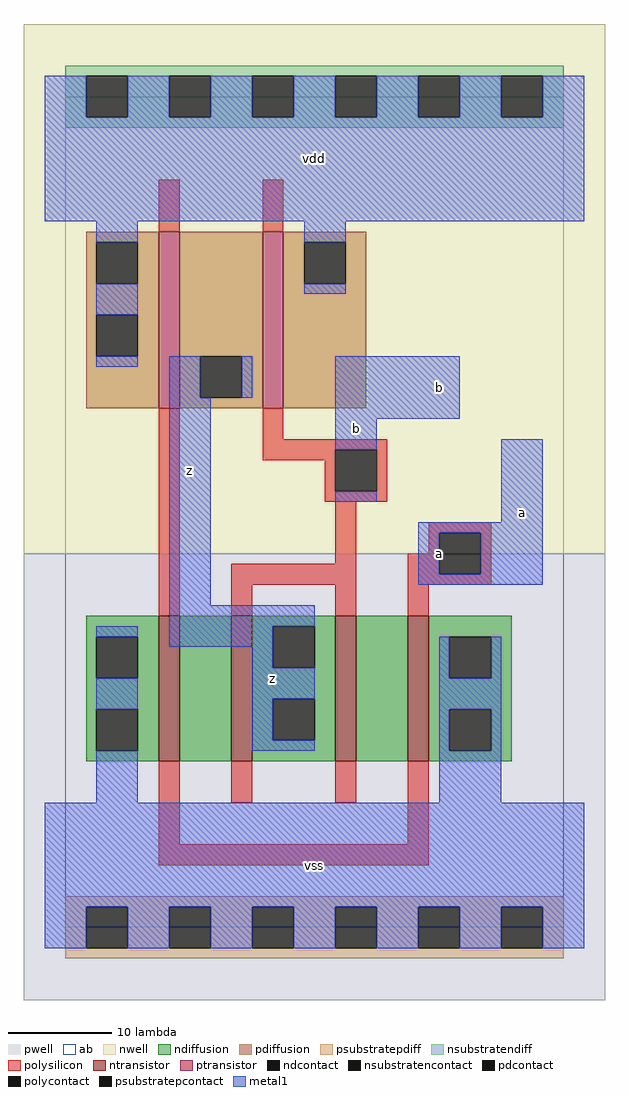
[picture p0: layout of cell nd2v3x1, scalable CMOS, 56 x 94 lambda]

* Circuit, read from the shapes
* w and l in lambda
.subckt nd2v3x1 a b vdd vss z
M1 n1 a vss vss nfet w=14 l=2
M2 z b n1 vss nfet w=14 l=2
M3 n2 b z vss nfet w=14 l=2
M4 vss a n2 vss nfet w=14 l=2
M5 z a vdd vdd pfet w=17 l=2
M6 vdd b z vdd pfet w=17 l=2
.ends

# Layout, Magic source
magic
tech scmos
<< ab >>
rect 0 0 48 80
<< pwell >>
rect -4 -7 52 36
<< nwell >>
rect -4 36 52 87
<< polysilicon >>
rect 9 67 11 72
rect 19 67 21 72
rect 9 30 11 50
rect 19 47 21 50
rect 19 46 31 47
rect 19 45 26 46
rect 25 42 26 45
rect 30 42 31 46
rect 25 41 31 42
rect 26 35 28 41
rect 35 38 41 39
rect 35 36 36 38
rect 16 33 28 35
rect 16 30 18 33
rect 26 30 28 33
rect 33 34 36 36
rect 40 34 41 38
rect 33 33 41 34
rect 33 30 35 33
rect 9 8 11 16
rect 16 12 18 16
rect 26 12 28 16
rect 33 8 35 16
rect 9 6 35 8
<< ndiffusion >>
rect 2 28 9 30
rect 2 24 3 28
rect 7 24 9 28
rect 2 21 9 24
rect 2 17 3 21
rect 7 17 9 21
rect 2 16 9 17
rect 11 16 16 30
rect 18 29 26 30
rect 18 25 20 29
rect 24 25 26 29
rect 18 22 26 25
rect 18 18 20 22
rect 24 18 26 22
rect 18 16 26 18
rect 28 16 33 30
rect 35 28 43 30
rect 35 24 37 28
rect 41 24 43 28
rect 35 21 43 24
rect 35 17 37 21
rect 41 17 43 21
rect 35 16 43 17
<< pdiffusion >>
rect 2 66 9 67
rect 2 62 3 66
rect 7 62 9 66
rect 2 59 9 62
rect 2 55 3 59
rect 7 55 9 59
rect 2 50 9 55
rect 11 55 19 67
rect 11 51 13 55
rect 17 51 19 55
rect 11 50 19 51
rect 21 66 29 67
rect 21 62 23 66
rect 27 62 29 66
rect 21 50 29 62
<< metal1 >>
rect -2 78 2 82
rect 6 78 10 82
rect 14 78 18 82
rect 22 78 26 82
rect 30 78 34 82
rect 38 78 42 82
rect 46 78 50 82
rect -2 68 50 78
rect 3 66 7 68
rect 3 59 7 62
rect 23 66 27 68
rect 23 61 27 62
rect 3 54 7 55
rect 10 51 13 55
rect 17 51 18 55
rect 10 31 14 51
rect 26 49 38 55
rect 26 46 30 49
rect 26 41 30 42
rect 42 39 46 47
rect 34 38 46 39
rect 34 34 36 38
rect 40 34 46 38
rect 34 33 46 34
rect 10 29 24 31
rect 3 28 7 29
rect 10 27 20 29
rect 3 21 7 24
rect 18 25 20 27
rect 18 22 24 25
rect 18 18 20 22
rect 18 17 24 18
rect 36 24 37 28
rect 41 24 42 28
rect 36 21 42 24
rect 36 17 37 21
rect 41 17 42 21
rect 3 12 7 17
rect 36 12 42 17
rect -2 2 50 12
rect -2 -2 2 2
rect 6 -2 10 2
rect 14 -2 18 2
rect 22 -2 26 2
rect 30 -2 34 2
rect 38 -2 42 2
rect 46 -2 50 2
<< ntransistor >>
rect 9 16 11 30
rect 16 16 18 30
rect 26 16 28 30
rect 33 16 35 30
<< ptransistor >>
rect 9 50 11 67
rect 19 50 21 67
<< polycontact >>
rect 26 42 30 46
rect 36 34 40 38
<< ndcontact >>
rect 3 24 7 28
rect 3 17 7 21
rect 20 25 24 29
rect 20 18 24 22
rect 37 24 41 28
rect 37 17 41 21
<< pdcontact >>
rect 3 62 7 66
rect 3 55 7 59
rect 13 51 17 55
rect 23 62 27 66
<< psubstratepcontact >>
rect 2 -2 6 2
rect 10 -2 14 2
rect 18 -2 22 2
rect 26 -2 30 2
rect 34 -2 38 2
rect 42 -2 46 2
<< nsubstratencontact >>
rect 2 78 6 82
rect 10 78 14 82
rect 18 78 22 82
rect 26 78 30 82
rect 34 78 38 82
rect 42 78 46 82
<< psubstratepdiff >>
rect 0 2 48 3
rect 0 -2 2 2
rect 6 -2 10 2
rect 14 -2 18 2
rect 22 -2 26 2
rect 30 -2 34 2
rect 38 -2 42 2
rect 46 -2 48 2
rect 0 -3 48 -2
<< nsubstratendiff >>
rect 0 82 48 83
rect 0 78 2 82
rect 6 78 10 82
rect 14 78 18 82
rect 22 78 26 82
rect 30 78 34 82
rect 38 78 42 82
rect 46 78 48 82
rect 0 77 48 78
<< labels >>
rlabel metal1 20 24 20 24 6 z
rlabel metal1 12 44 12 44 6 z
rlabel metal1 24 6 24 6 6 vss
rlabel metal1 28 48 28 48 6 b
rlabel metal1 24 74 24 74 6 vdd
rlabel metal1 36 36 36 36 6 a
rlabel metal1 44 40 44 40 6 a
rlabel metal1 36 52 36 52 6 b
<< end >>
